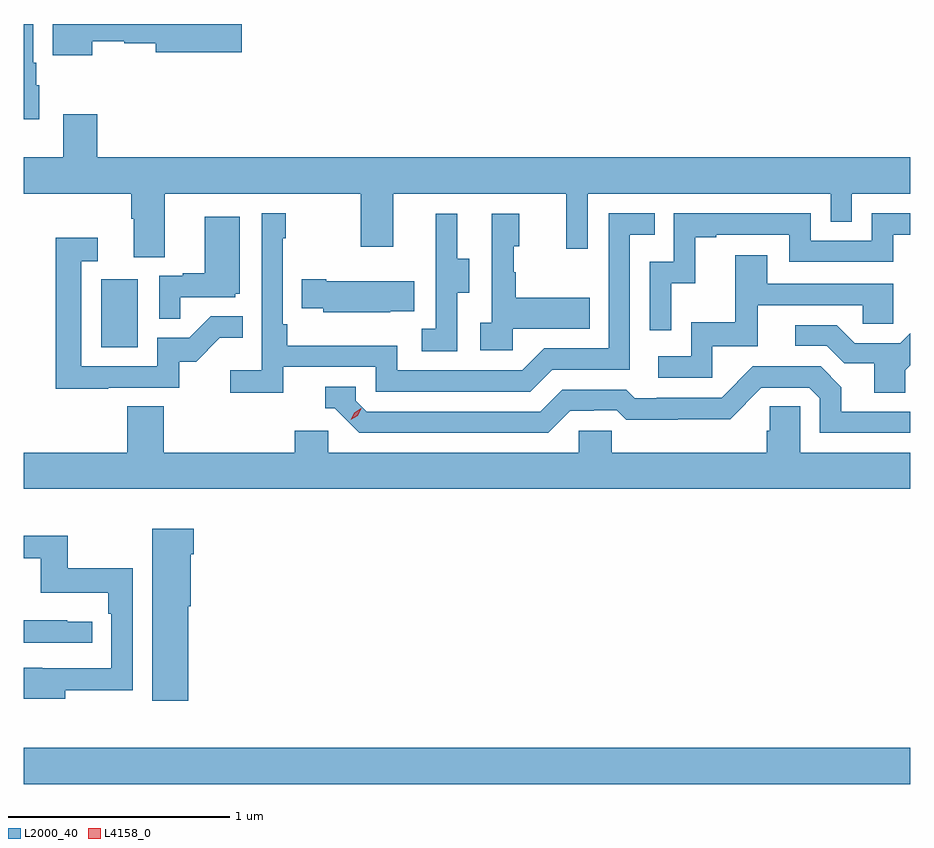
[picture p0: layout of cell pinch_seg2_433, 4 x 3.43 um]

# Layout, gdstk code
import gdstk
lib = gdstk.Library(unit=1e-6, precision=1e-09)
def R(c, l, rs):  # rectangles x0, y0, x1, y1
    for r in rs: c.add(gdstk.rectangle(r[:2], r[2:], *l))
def P(c, l, *ps):  # polygons
    for p in ps: c.add(gdstk.Polygon(p, *l))
L2000_40 = (2000, 40)
L4158_0 = (4158, 0)

pinch_seg2_433 = lib.new_cell('pinch_seg2_433')
R(pinch_seg2_433, L2000_40, [(934.645,606.344,938.645,606.508), (934.994,608.316,935.158,608.623)])
P(pinch_seg2_433, L2000_40, [(934.714,609.498),(934.702,609.498),(934.702,609.598),(934.687,609.598),(934.687,609.774),(934.645,609.774),(934.645,609.344),(934.714,609.344)],
  [(934.954,609.696),(935.097,609.696),(935.097,609.688),(935.24,609.688),(935.24,609.646),(935.629,609.646),(935.629,609.774),(934.775,609.774),(934.775,609.632),(934.954,609.632)],
  [(935.281,609.008),(936.166,609.008),(936.166,608.769),(936.313,608.769),(936.313,609.008),(937.094,609.008),(937.094,608.76),(937.191,608.76),(937.191,609.008),(938.286,609.008),(938.286,608.881),(938.382,608.881),(938.382,609.008),(938.645,609.008),(938.645,609.172),(934.976,609.172),(934.976,609.367),(934.823,609.367),(934.823,609.172),(934.645,609.172),(934.645,609.008),(935.129,609.008),(935.129,608.896),(935.141,608.896),(935.141,608.722),(935.281,608.722)],
  [(935.816,608.226),(936.234,608.226),(936.234,608.115),(936.931,608.115),(937.03,608.214),(937.38,608.214),(937.38,608.823),(937.493,608.823),(937.493,608.919),(937.284,608.919),(937.284,608.31),(936.993,608.31),(936.894,608.211),(936.33,608.211),(936.33,608.323),(935.834,608.323),(935.834,608.419),(935.814,608.419),(935.814,608.807),(935.827,608.807),(935.827,608.92),(935.718,608.92),(935.718,608.212),(935.577,608.212),(935.577,608.11),(935.816,608.11)],
  [(937.566,608.603),(937.676,608.603),(937.676,608.811),(937.771,608.811),(937.771,608.823),(938.1,608.823),(938.1,608.7),(938.568,608.7),(938.568,608.823),(938.645,608.823),(938.645,608.919),(938.472,608.919),(938.472,608.796),(938.196,608.796),(938.196,608.919),(937.578,608.919),(937.578,608.7),(937.47,608.7),(937.47,608.391),(937.566,608.391)],
  [(936.6,608.56),(936.655,608.56),(936.655,608.715),(936.601,608.715),(936.601,608.917),(936.503,608.917),(936.503,608.703),(936.504,608.703),(936.504,608.399),(936.441,608.399),(936.441,608.296),(936.6,608.296)],
  [(936.852,608.399),(937.199,608.399),(937.199,608.539),(936.865,608.539),(936.865,608.654),(936.855,608.654),(936.855,608.772),(936.88,608.772),(936.88,608.917),(936.756,608.917),(936.756,608.426),(936.705,608.426),(936.705,608.301),(936.852,608.301)],
  [(935.351,608.541),(935.598,608.541),(935.598,608.556),(935.62,608.556),(935.62,608.905),(935.462,608.905),(935.462,608.65),(935.363,608.65),(935.363,608.637),(935.256,608.637),(935.256,608.443),(935.351,608.443)],
  [(935.027,608.133),(935.346,608.133),(935.346,608.25),(935.422,608.25),(935.529,608.357),(935.633,608.357),(935.633,608.456),(935.489,608.456),(935.391,608.358),(935.247,608.358),(935.247,608.229),(934.905,608.229),(934.905,608.703),(934.978,608.703),(934.978,608.809),(934.789,608.809),(934.789,608.128),(935.027,608.128)],
  [(937.752,608.319),(937.957,608.319),(937.957,608.505),(938.431,608.505),(938.431,608.421),(938.568,608.421),(938.568,608.601),(937.999,608.601),(937.999,608.731),(937.855,608.731),(937.855,608.428),(937.656,608.428),(937.656,608.274),(937.509,608.274),(937.509,608.178),(937.752,608.178)],
  [(936.299,608.477),(936.407,608.477),(936.407,608.614),(936.01,608.614),(936.01,608.622),(935.899,608.622),(935.899,608.492),(935.997,608.492),(935.997,608.474),(936.299,608.474)],
  [(938.623,608.212),(938.645,608.234),(938.645,608.378),(938.601,608.334),(938.395,608.334),(938.314,608.415),(938.127,608.415),(938.127,608.322),(938.268,608.322),(938.348,608.242),(938.483,608.242),(938.483,608.11),(938.623,608.11)],
  [(937.111,608.028),(937.218,608.028),(937.218,608.031),(937.321,608.031),(937.363,607.989),(937.596,607.989),(937.596,607.991),(937.832,607.991),(937.974,608.133),(938.19,608.133),(938.238,608.085),(938.238,607.929),(938.645,607.929),(938.645,608.025),(938.335,608.025),(938.335,608.135),(938.241,608.229),(937.935,608.229),(937.794,608.088),(937.501,608.088),(937.501,608.085),(937.402,608.085),(937.363,608.124),(937.074,608.124),(936.975,608.025),(936.192,608.025),(936.144,608.073),(936.144,608.136),(936.005,608.136),(936.005,608.04),(936.048,608.04),(936.159,607.929),(937.012,607.929)],
  [(938.645,607.84),(938.148,607.84),(938.148,608.048),(938.011,608.048),(938.011,607.938),(937.997,607.938),(937.997,607.84),(937.299,607.84),(937.299,607.938),(937.149,607.938),(937.149,607.84),(936.018,607.84),(936.018,607.938),(935.867,607.938),(935.867,607.84),(935.276,607.84),(935.276,608.048),(935.111,608.048),(935.111,607.84),(934.645,607.84),(934.645,607.676),(938.645,607.676)],
  [(935.386,607.146),(935.398,607.146),(935.398,607.382),(935.411,607.382),(935.411,607.495),(935.225,607.495),(935.225,606.72),(935.386,606.72)],
  [(934.831,606.766),(935.136,606.766),(935.136,607.318),(934.843,607.318),(934.843,607.464),(934.645,607.464),(934.645,607.363),(934.722,607.363),(934.722,607.208),(935.027,607.208),(935.027,607.112),(935.04,607.112),(935.04,606.867),(934.727,606.867),(934.727,606.868),(934.645,606.868),(934.645,606.728),(934.831,606.728)],
  [(934.954,607.077),(934.841,607.077),(934.841,607.082),(934.645,607.082),(934.645,606.981),(934.954,606.981)])
P(pinch_seg2_433, L4158_0, [(936.121,607.987),(936.121,607.987),(936.137,608.02),(936.167,608.039),(936.168,608.039),(936.168,608.039),(936.152,608.006),(936.121,607.987)])

lib.write_gds('pinch_seg2_433.gds')
